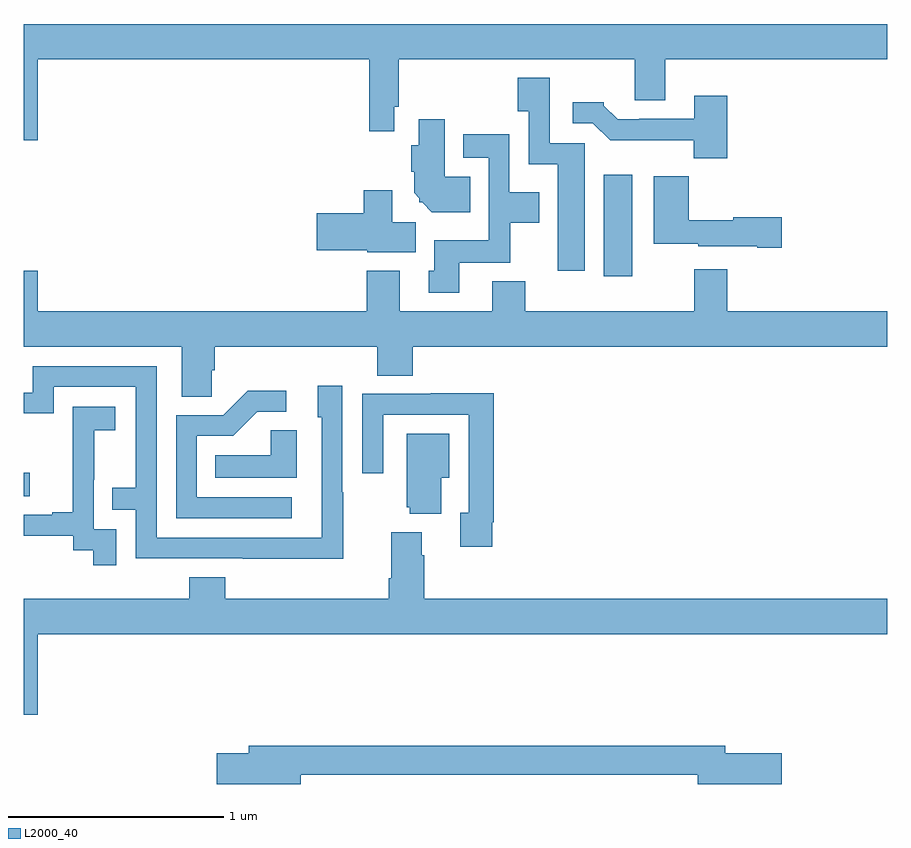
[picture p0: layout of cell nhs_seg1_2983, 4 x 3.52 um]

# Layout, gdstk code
import gdstk
lib = gdstk.Library(unit=1e-6, precision=1e-09)
def R(c, l, rs):  # rectangles x0, y0, x1, y1
    for r in rs: c.add(gdstk.rectangle(r[:2], r[2:], *l))
def P(c, l, *ps):  # polygons
    for p in ps: c.add(gdstk.Polygon(p, *l))
L2000_40 = (2000, 40)

nhs_seg1_2983 = lib.new_cell('nhs_seg1_2983')
R(nhs_seg1_2983, L2000_40, [(273,541.716,273.028,541.825), (275.687,542.736,275.818,543.205)])
P(nhs_seg1_2983, L2000_40, [(273.064,543.74),(274.6,543.74),(274.6,543.408),(274.716,543.408),(274.716,543.52),(274.736,543.52),(274.736,543.74),(275.831,543.74),(275.831,543.55),(275.971,543.55),(275.971,543.74),(277,543.74),(277,543.904),(273,543.904),(273,543.366),(273.064,543.366)],
  [(275.599,543.351),(275.436,543.351),(275.436,543.655),(275.288,543.655),(275.288,543.499),(275.34,543.499),(275.34,543.254),(275.474,543.254),(275.474,542.76),(275.599,542.76)],
  [(276.26,543.571),(276.107,543.571),(276.107,543.465),(275.851,543.465),(275.851,543.462),(275.752,543.462),(275.688,543.526),(275.688,543.541),(275.544,543.541),(275.544,543.444),(275.637,543.444),(275.716,543.366),(276.105,543.366),(276.105,543.281),(276.26,543.281)],
  [(275.069,543.196),(274.951,543.196),(274.951,543.463),(274.829,543.463),(274.829,543.342),(274.796,543.342),(274.796,543.22),(274.808,543.22),(274.808,543.121),(274.833,543.096),(274.833,543.078),(274.845,543.078),(274.891,543.032),(275.069,543.032)],
  [(275.017,542.798),(275.253,542.798),(275.253,542.984),(275.389,542.984),(275.389,543.124),(275.25,543.124),(275.25,543.394),(275.037,543.394),(275.037,543.285),(275.154,543.285),(275.154,542.902),(274.901,542.902),(274.901,542.76),(274.877,542.76),(274.877,542.658),(275.017,542.658)],
  [(276.511,543.008),(276.288,543.008),(276.288,542.995),(276.08,542.995),(276.08,543.199),(275.918,543.199),(275.918,542.885),(276.126,542.885),(276.126,542.873),(276.398,542.873),(276.398,542.866),(276.511,542.866)],
  [(274.816,542.985),(274.708,542.985),(274.708,543.133),(274.574,543.133),(274.574,543.026),(274.356,543.026),(274.356,542.855),(274.59,542.855),(274.59,542.846),(274.816,542.846)],
  [(273.87,542.299),(273.884,542.299),(273.884,542.408),(274.637,542.408),(274.637,542.275),(274.802,542.275),(274.802,542.408),(277,542.408),(277,542.572),(276.26,542.572),(276.26,542.767),(276.107,542.767),(276.107,542.572),(275.324,542.572),(275.324,542.713),(275.171,542.713),(275.171,542.572),(274.741,542.572),(274.741,542.761),(274.589,542.761),(274.589,542.572),(273.064,542.572),(273.064,542.761),(273,542.761),(273,542.408),(273.731,542.408),(273.731,542.176),(273.87,542.176)],
  [(274.479,541.733),(274.476,541.733),(274.476,542.227),(274.361,542.227),(274.361,542.082),(274.38,542.082),(274.38,541.524),(273.615,541.524),(273.615,542.319),(273.041,542.319),(273.041,542.196),(273,542.196),(273,542.1),(273.138,542.1),(273.138,542.223),(273.519,542.223),(273.519,541.754),(273.409,541.754),(273.409,541.653),(273.519,541.653),(273.519,541.428),(274.015,541.428),(274.015,541.427),(274.479,541.427)],
  [(274.24,541.71),(273.801,541.71),(273.801,541.995),(273.97,541.995),(274.081,542.106),(274.216,542.106),(274.216,542.204),(274.037,542.204),(273.924,542.091),(273.705,542.091),(273.705,541.614),(274.24,541.614)],
  [(275.17,541.594),(275.177,541.594),(275.177,542.192),(274.885,542.192),(274.885,542.19),(274.569,542.19),(274.569,541.821),(274.665,541.821),(274.665,542.094),(275.061,542.094),(275.061,541.638),(275.021,541.638),(275.021,541.482),(275.17,541.482)],
  [(273.429,541.563),(273.324,541.563),(273.324,541.793),(273.326,541.793),(273.326,542.021),(273.424,542.021),(273.424,542.131),(273.226,542.131),(273.226,541.925),(273.227,541.925),(273.227,541.642),(273.131,541.642),(273.131,541.629),(273,541.629),(273,541.533),(273.228,541.533),(273.228,541.465),(273.321,541.465),(273.321,541.395),(273.429,541.395)],
  [(274.264,542.021),(274.143,542.021),(274.143,541.906),(273.886,541.906),(273.886,541.802),(274.264,541.802)],
  [(274.933,541.802),(274.972,541.802),(274.972,542.005),(274.775,542.005),(274.775,541.665),(274.787,541.665),(274.787,541.634),(274.933,541.634)],
  [(273.064,541.076),(277,541.076),(277,541.24),(274.856,541.24),(274.856,541.442),(274.843,541.442),(274.843,541.549),(274.703,541.549),(274.703,541.336),(274.691,541.336),(274.691,541.24),(273.932,541.24),(273.932,541.339),(273.767,541.339),(273.767,541.24),(273,541.24),(273,540.702),(273.064,540.702)],
  [(274.282,540.424),(276.122,540.424),(276.122,540.382),(276.511,540.382),(276.511,540.524),(276.25,540.524),(276.25,540.56),(274.043,540.56),(274.043,540.524),(273.894,540.524),(273.894,540.382),(274.282,540.382)])

lib.write_gds('nhs_seg1_2983.gds')
